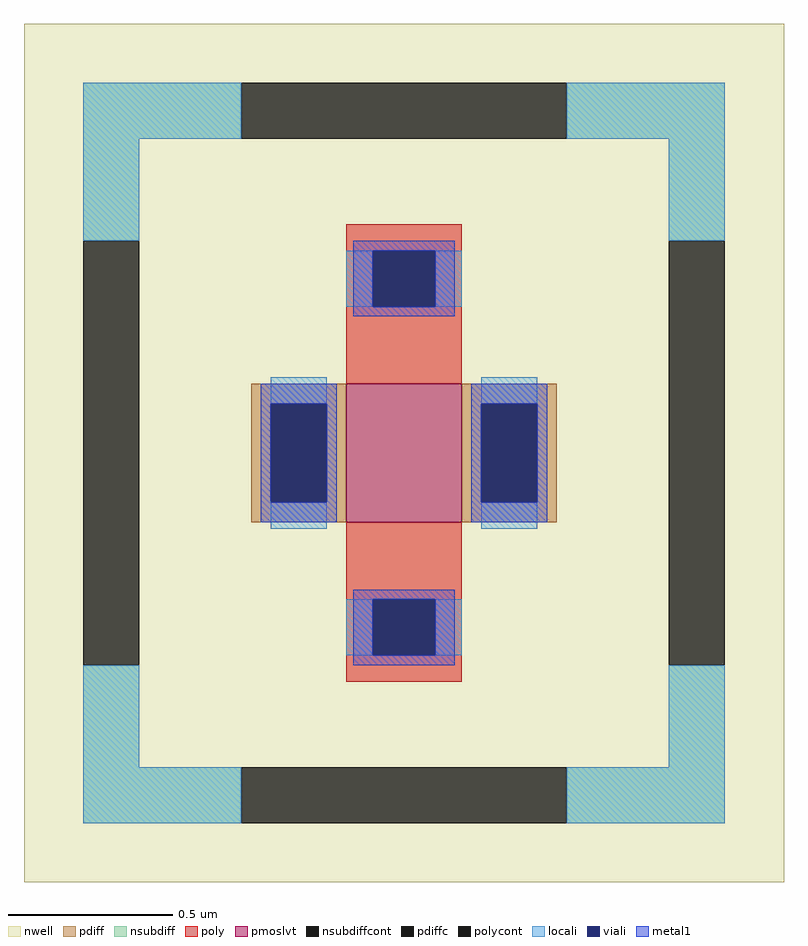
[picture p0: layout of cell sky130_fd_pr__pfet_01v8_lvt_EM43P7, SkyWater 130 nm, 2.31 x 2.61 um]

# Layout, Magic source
magic
tech sky130A
magscale 1 2
<< nwell >>
rect -231 -261 231 261
<< pmoslvt >>
rect -35 -42 35 42
<< pdiff >>
rect -93 30 -35 42
rect -93 -30 -81 30
rect -47 -30 -35 30
rect -93 -42 -35 -30
rect 35 30 93 42
rect 35 -30 47 30
rect 81 -30 93 30
rect 35 -42 93 -30
<< pdiffc >>
rect -81 -30 -47 30
rect 47 -30 81 30
<< nsubdiff >>
rect -195 191 -99 225
rect 99 191 195 225
rect -195 129 -161 191
rect 161 129 195 191
rect -195 -191 -161 -129
rect 161 -191 195 -129
rect -195 -225 -99 -191
rect 99 -225 195 -191
<< nsubdiffcont >>
rect -99 191 99 225
rect -195 -129 -161 129
rect 161 -129 195 129
rect -99 -225 99 -191
<< poly >>
rect -35 123 35 139
rect -35 89 -19 123
rect 19 89 35 123
rect -35 42 35 89
rect -35 -89 35 -42
rect -35 -123 -19 -89
rect 19 -123 35 -89
rect -35 -139 35 -123
<< polycont >>
rect -19 89 19 123
rect -19 -123 19 -89
<< locali >>
rect -195 191 -99 225
rect 99 191 195 225
rect -195 129 -161 191
rect 161 129 195 191
rect -35 89 -19 123
rect 19 89 35 123
rect -81 30 -47 46
rect -81 -46 -47 -30
rect 47 30 81 46
rect 47 -46 81 -30
rect -35 -123 -19 -89
rect 19 -123 35 -89
rect -195 -191 -161 -129
rect 161 -191 195 -129
rect -195 -225 -99 -191
rect 99 -225 195 -191
<< viali >>
rect -19 89 19 123
rect -81 -30 -47 30
rect 47 -30 81 30
rect -19 -123 19 -89
<< metal1 >>
rect -31 123 31 129
rect -31 89 -19 123
rect 19 89 31 123
rect -31 83 31 89
rect -87 30 -41 42
rect -87 -30 -81 30
rect -47 -30 -41 30
rect -87 -42 -41 -30
rect 41 30 87 42
rect 41 -30 47 30
rect 81 -30 87 30
rect 41 -42 87 -30
rect -31 -89 31 -83
rect -31 -123 -19 -89
rect 19 -123 31 -89
rect -31 -129 31 -123
<< properties >>
string gencell sky130_fd_pr__pfet_01v8_lvt
string FIXED_BBOX -178 -208 178 208
string parameters w 0.42 l 0.35 m 1 nf 1 diffcov 100 polycov 100 guard 1 glc 1 grc 1 gtc 1 gbc 1 tbcov 100 rlcov 100 topc 1 botc 1 poverlap 0 doverlap 1 lmin 0.35 wmin 0.42 compatible {sky130_fd_pr__pfet_01v8  sky130_fd_pr__pfet_01v8_lvt sky130_fd_pr__pfet_01v8_hvt  sky130_fd_pr__pfet_g5v0d10v5} full_metal 1 viasrc 100 viadrn 100 viagate 100 viagb 0 viagr 0 viagl 0 viagt 0
string library sky130
<< end >>
